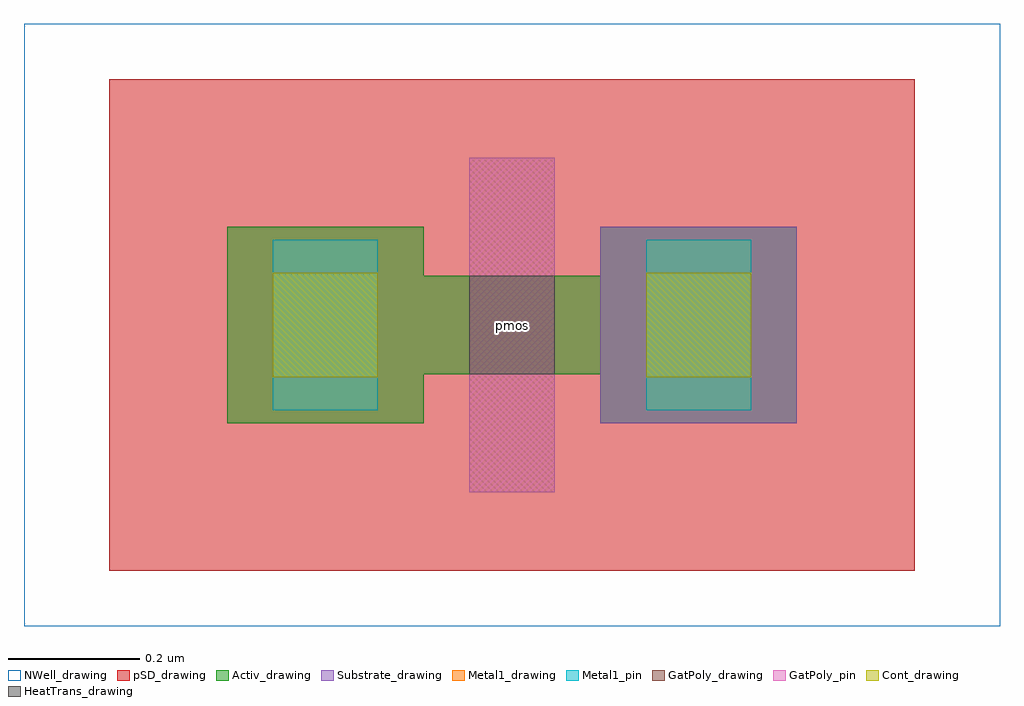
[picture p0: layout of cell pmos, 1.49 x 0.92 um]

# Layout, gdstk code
import gdstk
lib = gdstk.Library(unit=1e-6, precision=1e-09)
def R(c, l, rs):  # rectangles x0, y0, x1, y1
    for r in rs: c.add(gdstk.rectangle(r[:2], r[2:], *l))
Activ_drawing = (1, 0)
GatPoly_drawing = (5, 0)
GatPoly_pin = (5, 2)
Cont_drawing = (6, 0)
Metal1_drawing = (8, 0)
Metal1_pin = (8, 2)
pSD_drawing = (14, 0)
NWell_drawing = (31, 0)
Substrate_drawing = (40, 0)
HeatTrans_drawing = (51, 0)

pmos = lib.new_cell('pmos')
R(pmos, Activ_drawing, [(0,0,0.3,0.3), (0.57,0,0.87,0.3), (0,0.075,0.87,0.225)])
R(pmos, GatPoly_drawing, [(0.37,-0.105,0.5,0.405)])
R(pmos, GatPoly_pin, [(0.37,-0.105,0.5,0.405)])
R(pmos, Cont_drawing, [(0.07,0.07,0.23,0.23), (0.64,0.07,0.8,0.23)])
R(pmos, Metal1_drawing, [(0.07,0.02,0.23,0.28), (0.64,0.02,0.8,0.28)])
R(pmos, Metal1_pin, [(0.07,0.02,0.23,0.28), (0.64,0.02,0.8,0.28)])
R(pmos, pSD_drawing, [(-0.18,-0.225,1.05,0.525)])
R(pmos, NWell_drawing, [(-0.31,-0.31,1.18,0.61)])
R(pmos, Substrate_drawing, [(0.57,0,0.87,0.3)])
R(pmos, HeatTrans_drawing, [(0.37,0.075,0.5,0.225)])
pmos.add(gdstk.Label('pmos', (0.435,0.15), layer=63, texttype=0))
pmos.add(gdstk.Label('pmos', (0.435,0.15), layer=51, texttype=0))

lib.write_gds('pmos.gds')
